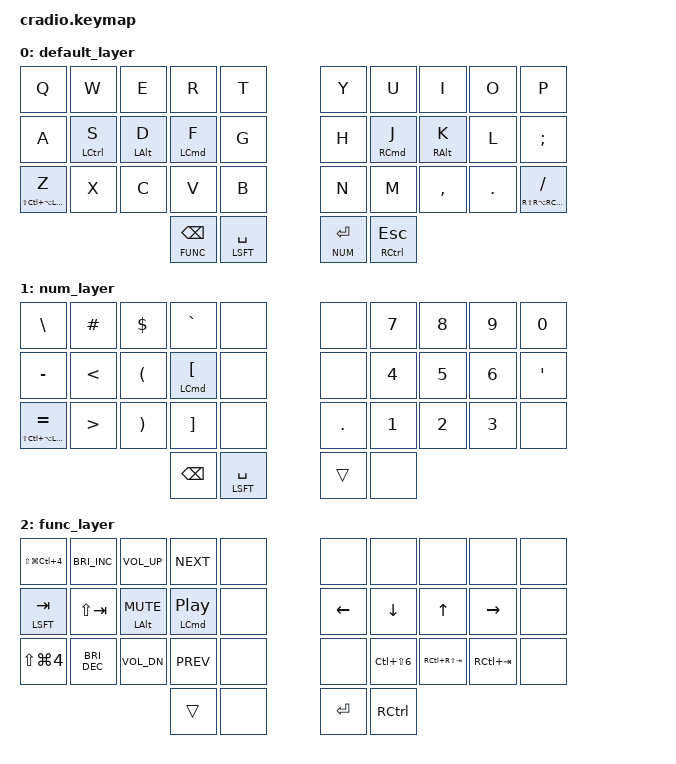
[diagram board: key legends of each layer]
#include <behaviors.dtsi>
#include <dt-bindings/zmk/keys.h>
#include <dt-bindings/zmk/bt.h>

#define DEFAULT 0
#define NUM 1
#define FUNC 2


&mt {
   flavor = "tap-preferred";
   tapping_term_ms = <170>;
};

/ { 

        keymap {
                compatible = "zmk,keymap";
                
   	default_layer {
		bindings = <
		&kp Q &kp W &kp E &kp R &kp T 						             &kp Y &kp U  &kp I  &kp O &kp P
		&kp A &mt LCTRL S &mt LALT D &mt LCMD F &kp G                &kp H &mt RCMD J &mt RALT K &kp L &kp SEMI
		&mt LS(LC(LA(LCMD))) Z &kp X &kp C &kp V &kp B				 &kp N &kp M  &kp CMMA &kp DOT &mt RS(RA(RC(RCMD))) FSLH
          				&lt FUNC BSPC  &mt LSFT SPC  				           &lt NUM RET &mt RCTRL ESC
		>;
		};

    num_layer {
		bindings = <
		&kp BSLH  &kp HASH  &kp DOLLAR &kp GRAVE  &none	                &none &kp N7  &kp N8 &kp N9  &kp N0 
    &kp MINUS  &kp LT  &kp LPAR  &mt LCMD LBKT  &none 	                  &none &kp N4  &kp N5 &kp N6  &kp APOS
		&mt LS(LC(LA(LCMD))) EQUAL &kp GT	&kp RPAR  &kp RBKT &none      &kp DOT &kp N1  &kp N2 &kp N3  &none
					    &kp BSPC  &mt LSFT SPC   					      &trans &none
		>;
		};
		
		
		func_layer {
		bindings = <
		&kp LS(LG(LC(N4)))  &kp C_BRI_INC  &kp C_VOL_UP &kp C_NEXT &none 		 &none &none &none &none &none
		&mt LSFT TAB &kp LS(TAB)  &mt LALT K_MUTE &mt LCMD C_PLAY_PAUSE &none    &kp LEFT &kp DOWN  &kp UP &kp RIGHT &none 
		&kp LS(LG(N4)) &kp C_BRI_DEC &kp C_VOL_DN &kp C_PREV &none   			 &none &kp LC(LS(N6)) &kp RC(RS(TAB)) &kp RC(TAB) &none
					 &trans &none  					                             &kp RET &kp RCTRL
		>;
		};	

	};
};
